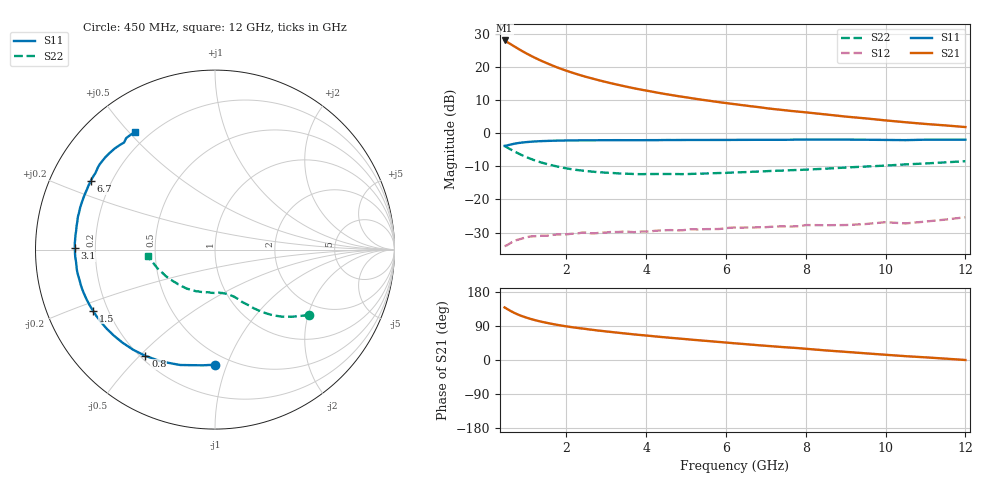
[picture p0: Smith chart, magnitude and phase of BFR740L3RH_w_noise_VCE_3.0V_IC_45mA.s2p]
! (c) 2012  Infineon Technologies AG, Munich
! Infineon Technologies  Discrete & RF Semiconductors
! BFR740L3RH
! VCE =  3.0 V,  IC =  45 mA
! Common Emitter S-Parameters:  May 2012
# GHz  S  MA  R  50
!  f  S11  S21  S12  S22
! GHz  MAG  ANG  MAG  ANG  MAG  ANG  MAG  ANG
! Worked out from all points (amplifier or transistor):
!   85 points, 450 MHz to 12 GHz, reference 50 ohm
!   highest |S21| = 27.9 dB at 450 MHz (marker M1)
!   |S21| within 3 dB of that: start of sweep to 861.5 MHz
!   unconditionally stable (mu >= 1): 3.475 GHz to end of sweep
!   at 1.8 GHz: K = 0.56, MSG = 25.1 dB, |S12| = -30.6 dB
!   at 4.6 GHz: K = 1.27, MAG = 17.3 dB, |S12| = -29.3 dB
!   at 12 GHz: K = 2.45, MAG = 6.9 dB, |S12| = -25.4 dB
!   lowest NFmin = 1.51 dB at 450 MHz
!   S11 on the Smith chart (normalised r, x): 450 MHz: 0.42, -0.91; 800 MHz: 0.22, -0.52; 1.5 GHz: 0.14, -0.23; 3.1 GHz: 0.12, +0.01; 6.7 GHz: 0.12, +0.25; 12 GHz: 0.15, +0.52
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0.45  0.6411 -89.8  24.92 138.7  0.0197 57.3  0.6382 -34.7
0.5  0.6483 -96.0  23.86 135.5  0.0202 52.2  0.6131 -36.9
0.6  0.6716 -106.8  21.93 129.4  0.022 45.1  0.5672 -41.3
0.7  0.6919 -115.7  20.15 124.0  0.0239 41.4  0.527 -45.1
0.8  0.7079 -123.2  18.53 119.3  0.0248 37.6  0.4911 -48.3
0.9  0.7209 -129.4  17.1 115.3  0.0258 34.4  0.4596 -50.9
1  0.7311 -134.9  15.84 111.7  0.0269 32.4  0.4329 -53.1
1.1  0.7397 -139.6  14.73 108.5  0.0276 30.5  0.4097 -55.0
1.3  0.7525 -147.4  12.86 102.8  0.0281 28.1  0.3707 -58.2
1.5  0.7606 -153.5  11.37 98.2  0.0283 28.4  0.3426 -61.0
1.7  0.7673 -158.8  10.14 94.0  0.0294 25.3  0.3201 -63.5
1.9  0.7718 -163.1  9.142 90.4  0.0295 24.7  0.301 -65.3
2.4  0.7778 -171.6  7.3 83.0  0.0317 24.0  0.2719 -70.5
3.1  0.7807 179.4  5.675 74.2  0.0322 24.3  0.2509 -77.5
3.7  0.7811 173.4  4.731 67.5  0.032 26.5  0.2414 -84.3
4.3  0.7827 168.4  4.05 61.5  0.0339 26.3  0.2415 -91.1
5.3  0.7872 160.5  3.242 52.2  0.0351 27.9  0.244 -103.2
6.3  0.7894 153.7  2.687 43.4  0.0376 30.7  0.2561 -115.7
6.7  0.791 151.2  2.508 40.0  0.0377 31.2  0.2618 -120.9
8.5  0.7989 140.1  1.909 25.3  0.0408 33.8  0.2904 -142.1
10.5  0.7827 130.3  1.456 10.1  0.0434 38.9  0.337 -161.8
12  0.7942 124.1  1.232 0.0  0.0538 45.3  0.377 -174.3
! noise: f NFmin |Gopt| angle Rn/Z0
0.45  1.51  0.26  180  0.12
0.9  1.55  0.26  180  0.11
1.5  1.64  0.28  180  0.11
1.9  1.72  0.29  -179  0.12
2.4  1.83  0.31  -176  0.12
3.5  2.12  0.34  -172  0.12
5.5  2.68  0.43  -158  0.15
8  3.35  0.46  -146  0.28
10  3.84  0.54  -130  0.47
12  4.29  0.57  -119  0.8
